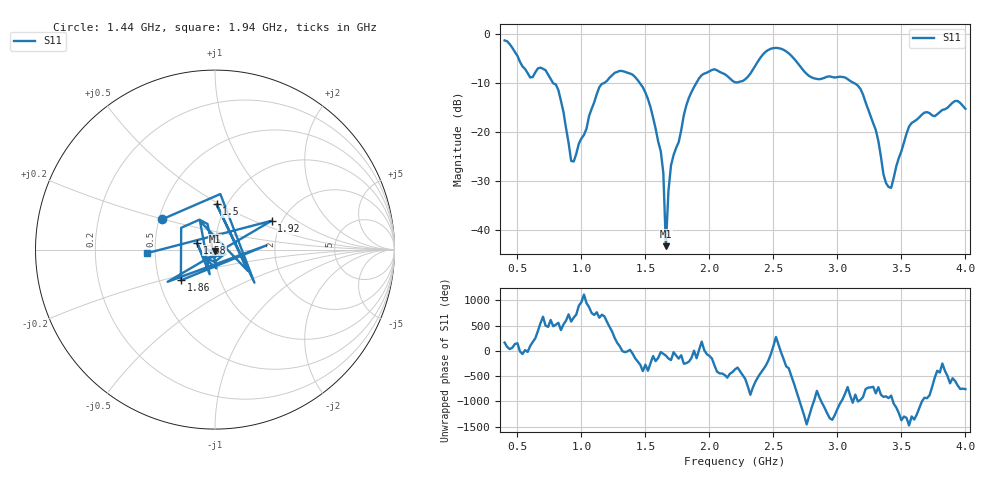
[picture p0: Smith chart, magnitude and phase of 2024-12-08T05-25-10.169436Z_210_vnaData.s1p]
!Created with skrf (http://scikit-rf.org).
# Hz S RI R 50.0
!freq ReS11 ImS11
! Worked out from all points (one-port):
!   181 points, 400 MHz to 4 GHz, reference 50 ohm
!   lowest |S11| = -43.2 dB at 1.66 GHz (marker M1), VSWR 1.01, Z = 50 - j0.689 ohm
!   |S11| at or under -10 dB: 778.6 MHz to 1.177 GHz (398.5 MHz wide, 40.8 % of centre); 1.456 GHz to 1.898 GHz (442.1 MHz wide, 26.4 % of centre); 3.13 GHz to end of sweep
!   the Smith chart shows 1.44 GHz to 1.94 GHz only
!   S11 on the Smith chart (normalised r, x): 1.44 GHz: 0.52, +0.20; 1.5 GHz: 0.89, +0.48; 1.58 GHz: 0.81, +0.06; 1.86 GHz: 0.65, -0.24; 1.92 GHz: 1.77, +0.65; 1.94 GHz: 0.45, -0.02
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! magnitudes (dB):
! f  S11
! 400 MHz  -1.3
! 600 MHz  -8.9
! 720 MHz  -7.4
! 860 MHz  -15.9
! 920 MHz  -25.9
! 940 MHz  -26.0
! 1.14 GHz  -10.8
! 1.3 GHz  -7.5
! 1.44 GHz  -9.4
! 1.5 GHz  -11.9
! 1.58 GHz  -19.3
! 1.64 GHz  -28.3
! 1.66 GHz  -43.2
! 1.68 GHz  -32.0
! 1.7 GHz  -26.8
! 1.76 GHz  -22.0
! 1.86 GHz  -11.8
! 1.92 GHz  -9.0
! 1.94 GHz  -8.4
! 2.2 GHz  -9.8
! 2.48 GHz  -3.0
! 2.66 GHz  -5.0
! 2.8 GHz  -8.9
! 3.1 GHz  -9.6
! 3.2 GHz  -12.3
! 3.4 GHz  -31.2
! 3.56 GHz  -18.8
! 4 GHz  -15.2
